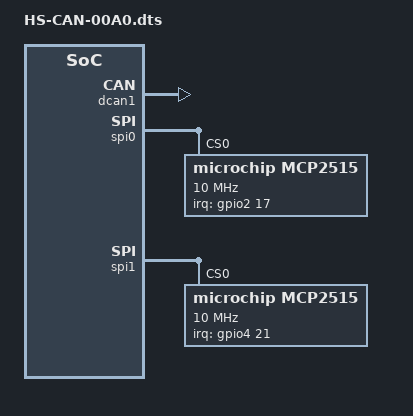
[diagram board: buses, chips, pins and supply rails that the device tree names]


/*
 * Copyright (C) 2013 Tower Technologies
 * Written by Alessandro Zummo <a.zummo@towertech.it>
 *
 * This program is free software; you can redistribute it and/or modify
 * it under the terms of the GNU General Public License version 2 as
 * published by the Free Software Foundation.
 */
 /dts-v1/;
 /plugin/;
 
 
 / {
   compatible = "ti,beaglebone-black";
   part-number = "HS-CAN";
   version = "00A0";
 
   /* state the resources this cape uses */
   exclusive-use =
     /* the pin header uses */
    "P9.17",	/* spi0_cs0 */
    "P9.18",	/* spi0_d1 */
    "P9.21",	/* spi0_d0 */
    "P9.22",	/* spi0_sclk */
    "P9.31",	/* spi1_sclk */
    "P9.29",	/* spi1_d0 */
    "P9.30",	/* spi1_d1 */
    "P9.28",	/* spi1_cs0 */
     /* the hardware IP uses */
     "spi0",    /* CAN_0 */
     "dcan1",   /* CAN_1 */
     "spi1";    /* CAN_2 */
 
   fragment@0 {
     target = <&am33xx_pinmux>;
     __overlay__ {
 
       bone_dcan1_pins: bone_dcan1_pins {
         pinctrl-single,pins = <
           0x180 0x02      /* uart1_rxd.d_can1_tx", OUTPUT | MODE2 */
           0x184 0x32      /* uart1_txd.d_can1_rx", INPUT_PULLUP | MODE2 */
         >;
       };

       bone_spi0_pins: bone_spi0_pins {
         pinctrl-single,pins = <
            0x150 0x30	/* spi0_sclk.spi0_sclk, INPUT_PULLUP | MODE0 */
            0x154 0x30	/* spi0_d0.spi0_d0, INPUT_PULLUP | MODE0 */
            0x158 0x10	/* spi0_d1.spi0_d1, OUTPUT_PULLUP | MODE0 */
            0x15c 0x10	/* spi0_cs0.spi0_cs0, OUTPUT_PULLUP | MODE0 */
         >;
       };
 
       bone_spi1_pins: bone_spi1_pins {
         pinctrl-single,pins = <
            0x190 0x33	/* mcasp0_aclkx.spi1_sclk, INPUT_PULLUP | MODE3 */
            0x194 0x33	/* mcasp0_fsx.spi1_d0, INPUT_PULLUP | MODE3 */
            0x198 0x13	/* mcasp0_axr0.spi1_d1, OUTPUT_PULLUP | MODE3 */
            0x19c 0x13	/* mcasp0_ahclkr.spi1_cs0, OUTPUT_PULLUP | MODE3 */
         >;
       }; 
     };
   };

   fragment@1 {
     target = <&dcan1>;
     __overlay__ {
       status = "okay";
       pinctrl-names = "default";
       pinctrl-0 = <&bone_dcan1_pins>;
     };
   };
 
   fragment@2 {
         target = <&spi0>;
 
     __overlay__ {
       #address-cells = <1>;
       #size-cells = <0>;

       status    = "okay";
 
       mcp2515@0 {

         pinctrl-names   = "default";
         pinctrl-0       = <&bone_spi0_pins>;

         compatible = "microchip,mcp2515";
         reg = <0>;
         mode = <0>;
 
         spi-max-frequency = <10000000>;
 
         interrupt-parent = <&gpio2>;
         interrupts = <17>;
 
         mcp251x,oscillator-frequency = <16000000>;
         mcp251x,irq-gpios = <&gpio2 17 0>;
         mcp251x,stay-awake = <1>;
         mcp251x,enable-clkout = <1>;
       };
     };
   };
 
    fragment@3 {
         target = <&spi1>;
 
     __overlay__ {
       #address-cells = <1>;
       #size-cells = <0>; 
 
       status    = "okay";

       mcp2515@1 {
         pinctrl-names   = "default";
         pinctrl-0       = <&bone_spi1_pins>;

         compatible = "microchip,mcp2515";
         reg = <0>;
         mode = <0>;
 
         spi-max-frequency = <10000000>;
 
         interrupt-parent = <&gpio4>;
         interrupts = <21>;
 
         mcp251x,oscillator-frequency = <16000000>;
         mcp251x,irq-gpios = <&gpio4 21 0>;
         mcp251x,stay-awake = <1>;
         mcp251x,enable-clkout = <1>;
       };
     };
   };
 };


